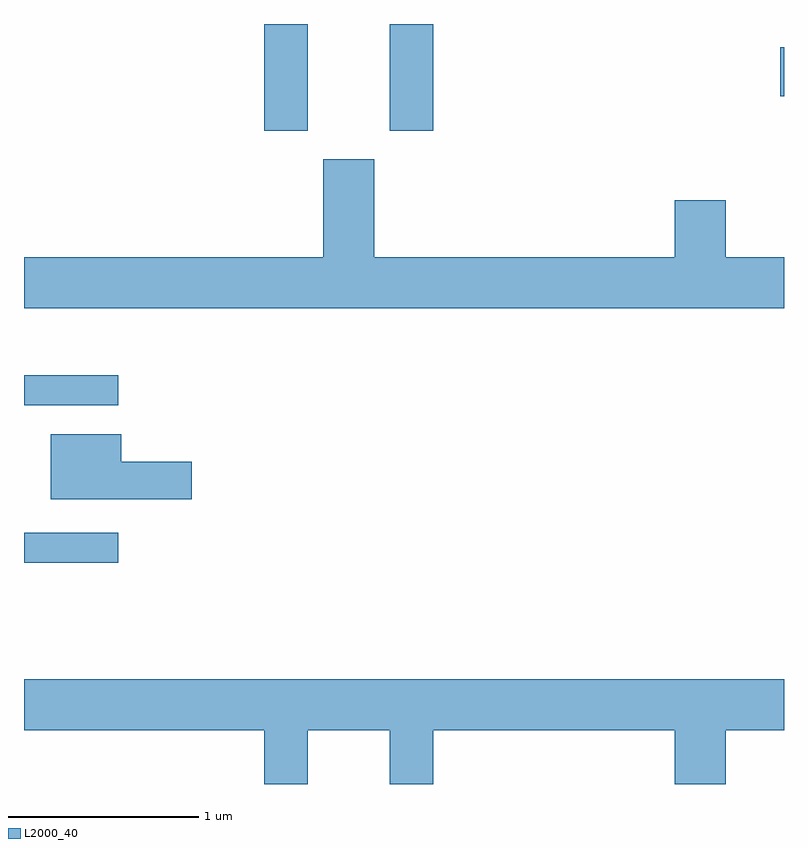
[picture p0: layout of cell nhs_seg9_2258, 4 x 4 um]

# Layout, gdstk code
import gdstk
lib = gdstk.Library(unit=1e-6, precision=1e-09)
def R(c, l, rs):  # rectangles x0, y0, x1, y1
    for r in rs: c.add(gdstk.rectangle(r[:2], r[2:], *l))
def P(c, l, *ps):  # polygons
    for p in ps: c.add(gdstk.Polygon(p, *l))
L2000_40 = (2000, 40)

nhs_seg9_2258 = lib.new_cell('nhs_seg9_2258')
R(nhs_seg9_2258, L2000_40, [(251.611,1981.596,252.108,1981.754), (251.611,1982.426,252.108,1982.584), (252.876,1983.871,253.104,1984.432), (253.536,1983.871,253.764,1984.432), (255.591,1984.051,255.611,1984.309)])
P(nhs_seg9_2258, L2000_40, [(255.611,1983.204),(255.304,1983.204),(255.304,1983.504),(255.036,1983.504),(255.036,1983.204),(253.454,1983.204),(253.454,1983.719),(253.186,1983.719),(253.186,1983.204),(251.611,1983.204),(251.611,1982.936),(255.611,1982.936)],
  [(252.494,1982.129),(252.124,1982.129),(252.124,1982.274),(251.751,1982.274),(251.751,1981.931),(252.494,1981.931)],
  [(253.104,1980.716),(253.536,1980.716),(253.536,1980.432),(253.764,1980.432),(253.764,1980.716),(255.036,1980.716),(255.036,1980.432),(255.304,1980.432),(255.304,1980.716),(255.611,1980.716),(255.611,1980.984),(251.611,1980.984),(251.611,1980.716),(252.876,1980.716),(252.876,1980.432),(253.104,1980.432)])

lib.write_gds('nhs_seg9_2258.gds')
